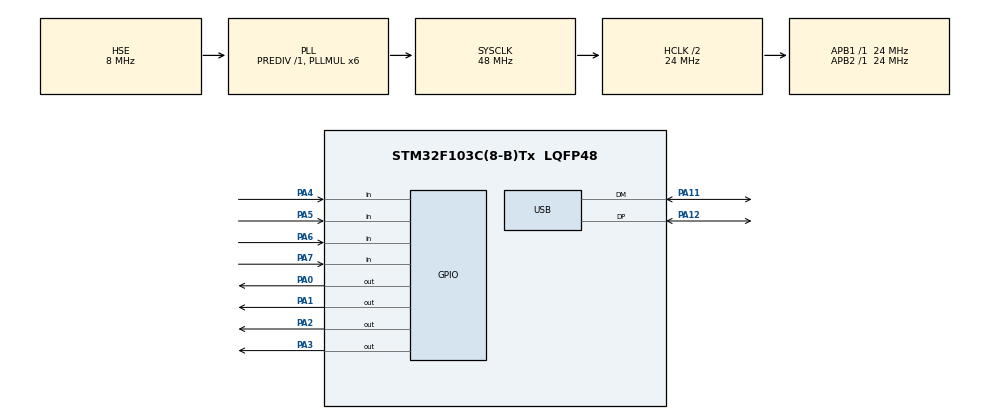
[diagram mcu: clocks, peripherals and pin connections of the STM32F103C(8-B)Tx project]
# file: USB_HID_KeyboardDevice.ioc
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Mcu.Family=STM32F1
Mcu.Name=STM32F103C(8-B)Tx
Mcu.Package=LQFP48
NVIC.PriorityGroup=NVIC_PRIORITYGROUP_4
NVIC.USB_LP_CAN1_RX0_IRQn=true\:0\:0\:false\:false\:true\:false\:true\:true
PA0-WKUP.Signal=GPIO_Output
PA1.Signal=GPIO_Output
PA11.Mode=Device
PA11.Signal=USB_DM
PA12.Mode=Device
PA12.Signal=USB_DP
PA13.Mode=Serial_Wire
PA13.Signal=SYS_JTMS-SWDIO
PA14.Mode=Serial_Wire
PA14.Signal=SYS_JTCK-SWCLK
PA2.Signal=GPIO_Output
PA3.Signal=GPIO_Output
PA4.GPIO_PuPd=GPIO_PULLDOWN
PA4.Signal=GPIO_Input
PA5.GPIO_PuPd=GPIO_PULLDOWN
PA5.Signal=GPIO_Input
PA6.GPIO_PuPd=GPIO_PULLDOWN
PA6.Signal=GPIO_Input
PA7.GPIO_PuPd=GPIO_PULLDOWN
PA7.Signal=GPIO_Input
PD0-OSC_IN.Mode=HSE-External-Oscillator
PD0-OSC_IN.Signal=RCC_OSC_IN
PD1-OSC_OUT.Mode=HSE-External-Oscillator
PD1-OSC_OUT.Signal=RCC_OSC_OUT
ProjectManager.HeapSize=0x200
ProjectManager.StackSize=0x400
ProjectManager.TargetToolchain=STM32CubeIDE
RCC.AHBCLKDivider=RCC_SYSCLK_DIV2
RCC.AHBFreq_Value=24000000
RCC.APB1Freq_Value=24000000
RCC.APB1TimFreq_Value=24000000
RCC.APB2Freq_Value=24000000
RCC.APB2TimFreq_Value=24000000
RCC.HCLKFreq_Value=24000000
RCC.PLLMUL=RCC_PLL_MUL6
RCC.SYSCLKFreq_VALUE=48000000
RCC.SYSCLKSource=RCC_SYSCLKSOURCE_PLLCLK
RCC.USBFreq_Value=48000000
USB_DEVICE.CLASS_NAME_FS=HID
USB_DEVICE.VirtualMode=Hid
USB_DEVICE.VirtualModeFS=Hid_FS
VP_USB_DEVICE_VS_USB_DEVICE_HID_FS.Mode=HID_FS
board=custom

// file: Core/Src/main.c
/* USER CODE BEGIN Header */
/**
  ******************************************************************************
  * @file           : main.c
  * @brief          : Main program body
  ******************************************************************************
  * @attention
  *
  * Copyright (c) 2025 STMicroelectronics.
  * All rights reserved.
  *
  * This software is licensed under terms that can be found in the LICENSE file
  * in the root directory of this software component.
  * If no LICENSE file comes with this software, it is provided AS-IS.
  *
  ******************************************************************************
  */
/* USER CODE END Header */
#include "main.h"
#include "usb_device.h"

/* USER CODE BEGIN Includes */
#include "usbd_hid.h"
/* USER CODE END Includes */

/* USER CODE BEGIN PV */
extern USBD_HandleTypeDef hUsbDeviceFS;
/* USER CODE END PV */

void SystemClock_Config(void);
static void MX_GPIO_Init(void);

/* USER CODE BEGIN 0 */
uint8_t buffer[8];
int i;
int pressed=0;
/* USER CODE END 0 */

int main(void)
{

  /* MCU Configuration--------------------------------------------------------*/

  /* Reset of all peripherals, Initializes the Flash interface and the Systick. */
  HAL_Init();

  /* Configure the system clock */
  SystemClock_Config();

  /* Initialize all configured peripherals */
  MX_GPIO_Init();
  MX_USB_DEVICE_Init();
  /* USER CODE BEGIN 2 */
  buffer[0]=1;//reportID
  buffer[1]=0;//modifier
  buffer[2]=0;//OEM
  buffer[3]=0;//keycode data
  buffer[4]=0;//keycode data
  buffer[5]=0;//keycode data
  buffer[6]=0;//keycode data
  buffer[7]=0;//keycode data
  /* USER CODE END 2 */

  /* Infinite loop */
  /* USER CODE BEGIN WHILE */
  while (1)
  {
	  GPIOA->ODR=(1<<i);
	  i++;

	  if(i==4){
		  i=1;
		  pressed=0;
	  }
	  if(i==3 && HAL_GPIO_ReadPin(GPIOA, GPIO_PIN_7)==GPIO_PIN_SET){
		  buffer[3]= 26;
		  pressed=1;
	  }
	  else if(i==1 && HAL_GPIO_ReadPin(GPIOA, GPIO_PIN_6)==GPIO_PIN_SET){
		  buffer[3]= 4;
		  pressed=1;
	  }
	  else if(i==3 && HAL_GPIO_ReadPin(GPIOA, GPIO_PIN_6)==GPIO_PIN_SET){
		  buffer[3]= 22;
		  pressed=1;
	  }
	  else if(i==2&& HAL_GPIO_ReadPin(GPIOA, GPIO_PIN_6)==GPIO_PIN_SET){
		  buffer[3]= 7;
		  pressed=1;
	  }
	  else if(!pressed && i==3){
		  buffer[3]=0;
	  }
	  USBD_HID_SendReport(&hUsbDeviceFS, buffer, 8);
	  HAL_Delay(10);
	  /*buffer[3]= 26;
	  USBD_HID_SendReport(&hUsbDeviceFS, buffer, 8);
	  HAL_Delay(500);
	  buffer[3]= 7;ss
	  USBD_HID_SendReport(&hUsbDeviceFS, buffer, 8);
	  HAL_Delay(500);
	  buffer[3]= 22;
	  USBD_HID_SendReport(&hUsbDeviceFS, buffer, 8);
	  HAL_Delay(500);
	  buffer[3]= 4;
	  USBD_HID_SendReport(&hUsbDeviceFS, buffer, 8);
	  HAL_Delay(500);
	  buffer[3]= 0;
	  USBD_HID_SendReport(&hUsbDeviceFS, buffer, 8);
	  HAL_Delay(500);
*/
    /* USER CODE END WHILE */

  }
}

void SystemClock_Config(void)
{
  RCC_OscInitTypeDef RCC_OscInitStruct = {0};
  RCC_ClkInitTypeDef RCC_ClkInitStruct = {0};
  RCC_PeriphCLKInitTypeDef PeriphClkInit = {0};

  /** Initializes the RCC Oscillators according to the specified parameters
  * in the RCC_OscInitTypeDef structure.
  */
  RCC_OscInitStruct.OscillatorType = RCC_OSCILLATORTYPE_HSE;
  RCC_OscInitStruct.HSEState = RCC_HSE_ON;
  RCC_OscInitStruct.HSEPredivValue = RCC_HSE_PREDIV_DIV1;
  RCC_OscInitStruct.HSIState = RCC_HSI_ON;
  RCC_OscInitStruct.PLL.PLLState = RCC_PLL_ON;
  RCC_OscInitStruct.PLL.PLLSource = RCC_PLLSOURCE_HSE;
  RCC_OscInitStruct.PLL.PLLMUL = RCC_PLL_MUL6;
  if (HAL_RCC_OscConfig(&RCC_OscInitStruct) != HAL_OK)
  {
    Error_Handler();
  }

  /** Initializes the CPU, AHB and APB buses clocks
  */
  RCC_ClkInitStruct.ClockType = RCC_CLOCKTYPE_HCLK|RCC_CLOCKTYPE_SYSCLK
                              |RCC_CLOCKTYPE_PCLK1|RCC_CLOCKTYPE_PCLK2;
  RCC_ClkInitStruct.SYSCLKSource = RCC_SYSCLKSOURCE_PLLCLK;
  RCC_ClkInitStruct.AHBCLKDivider = RCC_SYSCLK_DIV2;
  RCC_ClkInitStruct.APB1CLKDivider = RCC_HCLK_DIV1;
  RCC_ClkInitStruct.APB2CLKDivider = RCC_HCLK_DIV1;

  if (HAL_RCC_ClockConfig(&RCC_ClkInitStruct, FLASH_LATENCY_1) != HAL_OK)
  {
    Error_Handler();
  }
  PeriphClkInit.PeriphClockSelection = RCC_PERIPHCLK_USB;
  PeriphClkInit.UsbClockSelection = RCC_USBCLKSOURCE_PLL;
  if (HAL_RCCEx_PeriphCLKConfig(&PeriphClkInit) != HAL_OK)
  {
    Error_Handler();
  }
}

static void MX_GPIO_Init(void)
{
  GPIO_InitTypeDef GPIO_InitStruct = {0};

  /* GPIO Ports Clock Enable */
  __HAL_RCC_GPIOD_CLK_ENABLE();
  __HAL_RCC_GPIOA_CLK_ENABLE();

  /*Configure GPIO pin Output Level */
  HAL_GPIO_WritePin(GPIOA, GPIO_PIN_0|GPIO_PIN_1|GPIO_PIN_2|GPIO_PIN_3, GPIO_PIN_RESET);

  /*Configure GPIO pins : PA0 PA1 PA2 PA3 */
  GPIO_InitStruct.Pin = GPIO_PIN_0|GPIO_PIN_1|GPIO_PIN_2|GPIO_PIN_3;
  GPIO_InitStruct.Mode = GPIO_MODE_OUTPUT_PP;
  GPIO_InitStruct.Pull = GPIO_NOPULL;
  GPIO_InitStruct.Speed = GPIO_SPEED_FREQ_LOW;
  HAL_GPIO_Init(GPIOA, &GPIO_InitStruct);

  /*Configure GPIO pins : PA4 PA5 PA6 PA7 */
  GPIO_InitStruct.Pin = GPIO_PIN_4|GPIO_PIN_5|GPIO_PIN_6|GPIO_PIN_7;
  GPIO_InitStruct.Mode = GPIO_MODE_INPUT;
  GPIO_InitStruct.Pull = GPIO_PULLDOWN;
  HAL_GPIO_Init(GPIOA, &GPIO_InitStruct);

}

void Error_Handler(void)
{
  __disable_irq();
  while (1)
  {
  }
}
